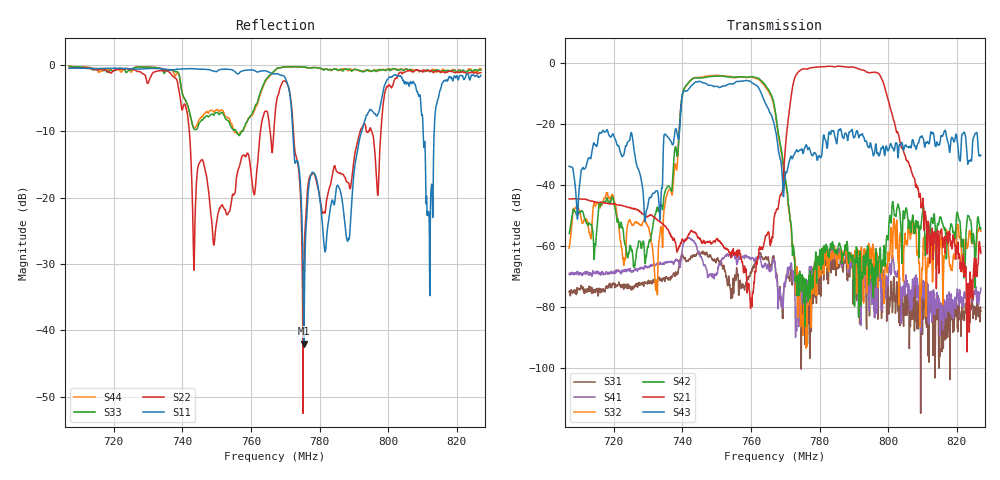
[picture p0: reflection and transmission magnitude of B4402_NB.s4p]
! Matrix data file written by TouchstoneData, EPCOS AG
! FILENAME: "ptable_B4402_02_NB_matched.s4p"
! COMMENT: "S4P matched (B4402_02_NB_matched.s4p)"
! INFO: nport=4, nfreq=1601
! DATE: "Tue Feb 12 13:03:31 2013"
! USER: "Michael Schemies"
! port | pin | signal
!  1  |  3  |  Tx
!  2  |  6  |  Ant
!  3  |  8  |  Rx
!  4  |  1  |  Rx
# MHZ S RI R 50
! freq  reS11 imS11  reS12 imS12  reS13 imS13  reS14 imS14  ...
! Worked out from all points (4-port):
!   1601 points, 707 MHz to 827 MHz, reference 50 ohm
!   strongest paths, dB at 707 MHz, 737 MHz, 767 MHz, 797 MHz, 827 MHz:
!     S43: -33.9, -26.7, -21.4, -29.5, -30.4
!     S21: -44.6, -57.1, -49.1, -3.5, -62.4
!     S42: -55.9, -41.1, -15.2, -68.8, -54.2
!     S32: -60.7, -43.3, -16.0, -69.6, -55.1
!     S41: -68.9, -65.0, -65.6, -71.0, -73.8
!     S31: -75.0, -70.2, -66.1, -84.0, -81.4
!   lowest |S11| = -42.0 dB at 775.4 MHz (marker M1), VSWR 1.02, Z = 49.7 + j0.713 ohm
!   |S11| at or under -10 dB: 772.2 MHz to 792.3 MHz (20.12 MHz wide, 2.57 % of centre); 810.1659 MHz to 813.394 MHz (3.228 MHz wide, 0.398 % of centre)
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707  -0.6749 -0.6579  0.00577 0.00123  -0.000159 7.83e-05  -0.000343 9.83e-05
     0.00577 0.00123  0.787 -0.517  0.000865 -0.000314  -0.00156 0.000354
     -0.000159 7.83e-05  0.000865 -0.000314  0.3417 -0.9117  0.0194 0.0059
     -0.000343 9.83e-05  -0.00156 0.000354  0.0194 0.0059  0.3498 -0.9115
732.275  -0.7844 -0.517  0.00281 -0.000388  -0.000211 0.000168  -0.000382 0.000304
         0.00281 -0.000388  0.1585 -0.8769  -8.27e-05 -0.000168  -0.00329 0.00109
         -0.000211 0.000168  -8.27e-05 -0.000168  -0.1806 -0.9345  -0.00599 0.00525
         -0.000382 0.000304  -0.00329 0.00109  -0.00599 0.00525  -0.1739 -0.9392
740.675  -0.8208 -0.4419  0.000891 0.000826  0.000624 -7.97e-05  -0.00068 0.00101
         0.000891 0.000826  -0.4544 -0.2239  0.2439 -0.3015  -0.2434 0.3114
         0.000624 -7.97e-05  0.2439 -0.3015  -0.5568 -0.0182  -0.2332 0.2564
         -0.00068 0.00101  -0.2434 0.3114  -0.2332 0.2564  -0.5476 -0.0126
760.7  -0.9112 0.0255  0.000169 -0.000101  -0.000144 0.000414  0.000605 -0.000169
       0.000169 -0.000101  0.1009 0.0452  -0.4216 -0.3842  0.4448 0.381
       -0.000144 0.000414  -0.4216 -0.3842  0.1954 0.4049  0.1094 0.4401
       0.000605 -0.000169  0.4448 0.381  0.1094 0.4401  0.198 0.3866
775.4  -0.00345 0.00718  -0.5502 -0.5771  -5.21e-05 5.21e-05  -0.000244 -3.94e-05
       -0.5502 -0.5771  0.0193 0.0211  3.33e-05 -9.11e-05  -0.000165 -0.000124
       -5.21e-05 5.21e-05  3.33e-05 -9.11e-05  0.9256 -0.2558  0.00765 0.0361
       -0.000244 -3.94e-05  -0.000165 -0.000124  0.00765 0.0361  0.9267 -0.2421
782.3  0.0455 -0.0366  -0.025 0.8734  0.000536 -0.00031  -0.000524 0.000674
       -0.025 0.8734  0.0653 0.0801  -0.00053 -0.000588  0.000623 0.000622
       0.000536 -0.00031  -0.00053 -0.000588  0.8238 -0.4078  -0.00983 0.0402
       -0.000524 0.000674  0.000623 0.000622  -0.00983 0.0402  0.834 -0.4003
827  -0.00291 -0.8327  0.000511 0.000564  -8.16e-05 -2.49e-05  -0.000199 -4.78e-05
     0.000511 0.000564  0.8432 0.226  -0.00174 0.000132  0.00123 0.00152
     -8.16e-05 -2.49e-05  -0.00174 0.000132  0.6701 -0.6191  0.0243 0.0181
     -0.000199 -4.78e-05  0.00123 0.00152  0.0243 0.0181  0.6935 -0.6266
